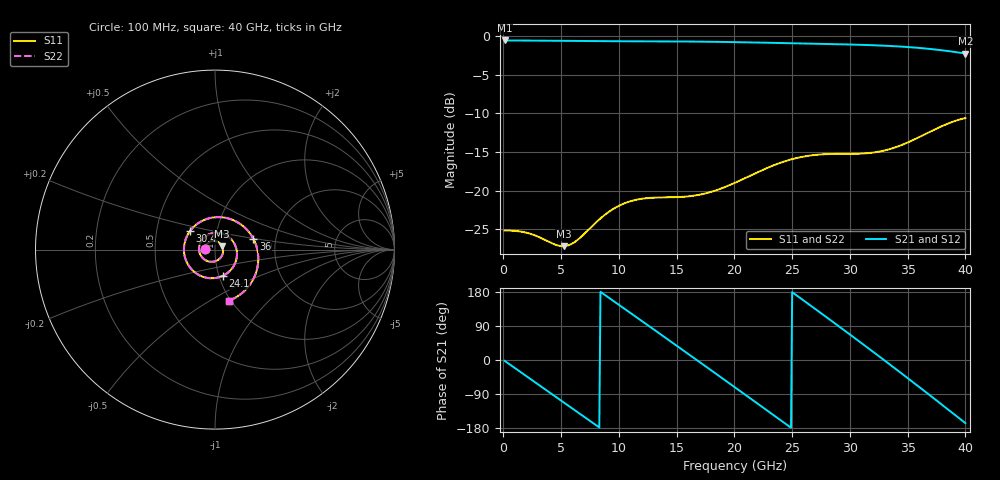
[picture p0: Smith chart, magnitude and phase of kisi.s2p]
! B_s8_L1L8_d200: L1→L8, no stub, drill Ø0.2
! stackup: 8-layer 1.6 mm FR-4 (generic)
! ports: 1, 2
! kisi-fdtd, conformal, dfine 0.035 mm, 611065 cells
# Hz S RI R 50
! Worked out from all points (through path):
!   400 points, 100 MHz to 40 GHz, reference 50 ohm
!   highest |S21| = -0.54 dB at 100 MHz (marker M1); lowest = -2.2 dB at 40 GHz (marker M2)
!   group delay of S21, straight-line fit = 61.2 ps
!   lowest |S11| = -27.2 dB at 5.2 GHz (marker M3), VSWR 1.09, Z = 54 + j2.13 ohm
!   |S11| at or under -10 dB: start of sweep to end of sweep
!   |S22| runs from -27.2 to -10.6 dB; largest |S21 - S12| = 1.4e-07
!   S11 on the Smith chart (normalised r, x): 100 MHz: 0.90, +0.00; 24.1 GHz: 1.04, -0.31; 30.4 GHz: 0.74, +0.16; 36 GHz: 1.53, +0.19; 40 GHz: 0.97, -0.61
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1e8  -0.0552 0.00202  0.9392 -0.0353  0.9392 -0.0353  -0.0552 0.00202
2.9e9  -0.0178 0.0475  0.4351 -0.83  0.4351 -0.83  -0.0178 0.0475
5.2e9  0.039 0.0197  -0.344 -0.8676  -0.344 -0.8676  0.039 0.0197
6.8e9  0.0395 -0.0321  -0.7708 -0.5224  -0.7708 -0.5224  0.0395 -0.0321
8.3e9  0.00101 -0.0651  -0.9292 -0.0326  -0.9292 -0.0326  0.00101 -0.0651
9.7e9  -0.0465 -0.0622  -0.8202 0.4363  -0.8202 0.4363  -0.0465 -0.0622
1.16e10  -0.0864 -0.0149  -0.3349 0.8657  -0.3349 0.8657  -0.0864 -0.0149
1.34e10  -0.0808 0.0404  0.2815 0.8837  0.2815 0.8837  -0.0808 0.0404
1.52e10  -0.0439 0.0796  0.7732 0.5094  0.7732 0.5094  -0.0439 0.0796
1.67e10  0.000549 0.0933  0.9239 0.0131  0.9239 0.0131  0.000549 0.0933
1.83e10  0.0551 0.0834  0.7634 -0.5152  0.7634 -0.5152  0.0551 0.0834
2.01e10  0.1081 0.0327  0.2632 -0.878  0.2632 -0.878  0.1081 0.0327
2.2e10  0.1179 -0.0585  -0.3838 -0.8263  -0.3838 -0.8263  0.1179 -0.0585
2.41e10  0.0419 -0.1468  -0.8556 -0.2932  -0.8556 -0.2932  0.0419 -0.1468
2.67e10  -0.1145 -0.125  -0.7001 0.5595  -0.7001 0.5595  -0.1145 -0.125
2.86e10  -0.1724 -0.0142  -0.1382 0.8791  -0.1382 0.8791  -0.1724 -0.0142
3.04e10  -0.1396 0.1028  0.4637 0.7516  0.4637 0.7516  -0.1396 0.1028
3.2e10  -0.0508 0.169  0.8126 0.3256  0.8126 0.3256  -0.0508 0.169
3.34e10  0.0497 0.1787  0.8519 -0.1568  0.8519 -0.1568  0.0497 0.1787
3.6e10  0.2142 0.0594  0.2708 -0.7959  0.2708 -0.7959  0.2142 0.0594
3.78e10  0.2344 -0.1088  -0.33 -0.7448  -0.33 -0.7448  0.2344 -0.1088
4e10  0.0755 -0.2855  -0.7521 -0.179  -0.7521 -0.179  0.0755 -0.2855
